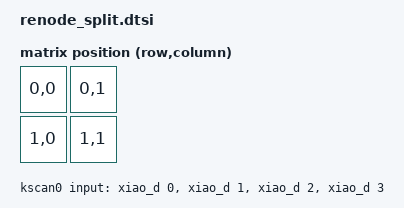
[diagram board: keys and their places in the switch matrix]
/*
 * Shared devicetree for the renode_split shield -- a minimal two-part BLE
 * split used only by `west zmk-renode-test --mode ble-split` (see the repo
 * README's `west zmk-renode-test` section and docs/renode-testing.md).
 *
 * Both halves (renode_split_left = central, renode_split_right = peripheral)
 * include this. Like renode_tester it is Studio-ready: a zmk,physical-layout
 * with key_physical_attrs and NO chosen zmk,matrix-transform (CONFIG_ZMK_STUDIO
 * build-asserts on exactly that shape -- the transform is referenced from the
 * physical layout instead). The 4-key direct kscan / 2x2 transform / 4-key
 * layout all agree in size so the shared keymap compiles for both halves; the
 * emulated split never produces real key events, this is a boot + pairing test.
 */
#include <dt-bindings/zmk/matrix_transform.h>
#include <physical_layouts.dtsi>

/ {
	chosen {
		zmk,kscan = &kscan0;
	};

	kscan0: kscan {
		compatible = "zmk,kscan-gpio-direct";
		input-gpios
			= <&xiao_d 0 (GPIO_ACTIVE_LOW | GPIO_PULL_UP)>
			, <&xiao_d 1 (GPIO_ACTIVE_LOW | GPIO_PULL_UP)>
			, <&xiao_d 2 (GPIO_ACTIVE_LOW | GPIO_PULL_UP)>
			, <&xiao_d 3 (GPIO_ACTIVE_LOW | GPIO_PULL_UP)>
			;
	};

	transform0: keymap_transform {
		compatible = "zmk,matrix-transform";
		columns = <2>;
		rows = <2>;
		map = <
		RC(0,0)  RC(0,1)
		RC(1,0)  RC(1,1)
		>;
	};

	physical_layout0: physical_layout0 {
		compatible = "zmk,physical-layout";
		display-name = "Renode";
		transform = <&transform0>;
		keys  /* w   h    x    y   rot  rx  ry */
			= <&key_physical_attrs 100 100   0   0 0 0 0>
			, <&key_physical_attrs 100 100 100   0 0 0 0>
			, <&key_physical_attrs 100 100   0 100 0 0 0>
			, <&key_physical_attrs 100 100 100 100 0 0 0>
			;
	};
};
